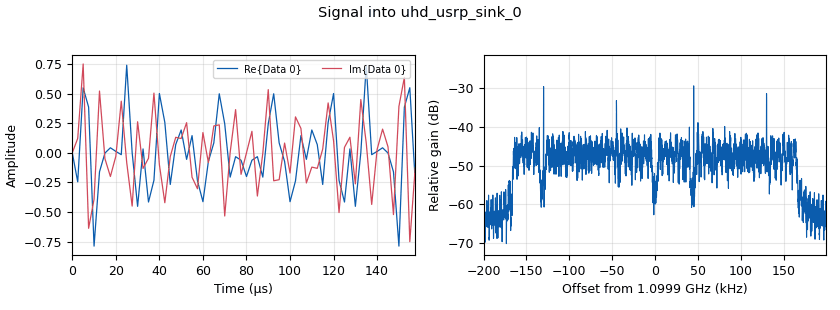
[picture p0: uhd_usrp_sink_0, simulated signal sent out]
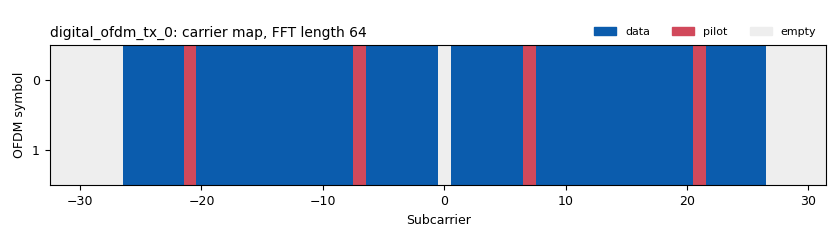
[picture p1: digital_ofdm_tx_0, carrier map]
<?xml version='1.0' encoding='utf-8'?>
<?grc format='1' created='3.7.11'?>
<flow_graph>
<block>
<key>options</key>
<param><key>id</key><value>usrp_1tx_1rx_pdu_gen</value></param>
<param><key>generate_options</key><value>qt_gui</value></param>
</block>
<block>
<key>variable_qtgui_range</key>
<param><key>id</key><value>mul1</value></param>
<param><key>value</key><value>0.1</value></param>
<param><key>label</key><value>mul1</value></param>
<param><key>orient</key><value>Qt.Horizontal</value></param>
<param><key>start</key><value>0</value></param>
<param><key>step</key><value>0.01</value></param>
<param><key>stop</key><value>1</value></param>
</block>
<block>
<key>variable</key>
<param><key>id</key><value>occupied_carriers</value></param>
<param><key>value</key><value>(range(-26, -21) + range(-20, -7) + range(-6, 0) + range(1, 7) + range(8, 21) + range(22, 27),)</value></param>
</block>
<block>
<key>variable</key>
<param><key>id</key><value>pilot_carriers</value></param>
<param><key>value</key><value>((-21, -7, 7, 21,),)</value></param>
</block>
<block>
<key>variable</key>
<param><key>id</key><value>pilot_symbols</value></param>
<param><key>value</key><value>((1, 1, 1, -1,),)</value></param>
</block>
<block>
<key>variable</key>
<param><key>id</key><value>sync_word1</value></param>
<param><key>value</key><value>[0., 0., 0., 0., 0., 0., 0., 1.41421356, 0., -1.41421356, 0., 1.41421356, 0., -1.41421356, 0., -1.41421356, 0., -1.41421356, 0., 1.41421356, 0., -1.41421356, 0., 1.41421356, 0., -1.41421356, 0., -1.41421356, 0., -1.41421356, 0., -1.41421356, 0., 1.41421356, 0., -1.41421356, 0., 1.41421356, 0., 1.41421356, 0., 1.41421356, 0., -1.41421356, 0., 1.41421356, 0., 1.41421356, 0., 1.41421356, 0., -1.41421356, 0., 1.41421356, 0., 1.41421356, 0., 1.41421356, 0., 0., 0., 0., 0., 0.]</value></param>
</block>
<block>
<key>variable</key>
<param><key>id</key><value>sync_word2</value></param>
<param><key>value</key><value>[0, 0, 0, 0, 0, 0, -1, -1, -1, -1, 1, 1, -1, -1, -1, 1, -1, 1, 1, 1, 1, 1, -1, -1, -1, -1, -1, 1, -1, -1, 1, -1, 0, 1, -1, 1, 1, 1, -1, 1, 1, 1, -1, 1, 1, 1, 1, -1, 1, -1, -1, -1, 1, -1, 1, -1, -1, -1, -1, 0, 0, 0, 0, 0] </value></param>
</block>
<block>
<key>analog_random_source_x</key>
<param><key>id</key><value>analog_random_source_x_0</value></param>
<param><key>_enabled</key><value>0</value></param>
<param><key>max</key><value>10</value></param>
<param><key>min</key><value>0</value></param>
<param><key>num_samps</key><value>1000</value></param>
<param><key>type</key><value>byte</value></param>
<param><key>repeat</key><value>True</value></param>
</block>
<block>
<key>blocks_message_debug</key>
<param><key>id</key><value>blocks_message_debug_0</value></param>
<param><key>_enabled</key><value>0</value></param>
</block>
<block>
<key>blocks_message_strobe</key>
<param><key>id</key><value>blocks_message_strobe_0</value></param>
<param><key>msg</key><value>pmt.intern("TEST")</value></param>
<param><key>period</key><value>100</value></param>
</block>
<block>
<key>blocks_multiply_const_vxx</key>
<param><key>id</key><value>blocks_multiply_const_vxx_0</value></param>
<param><key>const</key><value>mul1</value></param>
<param><key>type</key><value>complex</value></param>
</block>
<block>
<key>blocks_pdu_to_tagged_stream</key>
<param><key>id</key><value>blocks_pdu_to_tagged_stream_0</value></param>
<param><key>type</key><value>byte</value></param>
<param><key>tag</key><value>"len"</value></param>
</block>
<block>
<key>blocks_random_pdu</key>
<param><key>id</key><value>blocks_random_pdu_0</value></param>
<param><key>mask</key><value>0xFF</value></param>
<param><key>length_modulo</key><value>2</value></param>
<param><key>maxsize</key><value>100</value></param>
<param><key>minsize</key><value>50</value></param>
</block>
<block>
<key>blocks_stream_to_tagged_stream</key>
<param><key>id</key><value>blocks_stream_to_tagged_stream_0</value></param>
<param><key>_enabled</key><value>0</value></param>
<param><key>len_tag_key</key><value>"len"</value></param>
<param><key>packet_len</key><value>100</value></param>
<param><key>type</key><value>byte</value></param>
</block>
<block>
<key>blocks_tag_debug</key>
<param><key>id</key><value>blocks_tag_debug_0</value></param>
<param><key>type</key><value>byte</value></param>
<param><key>name</key><value>VR1 RX</value></param>
</block>
<block>
<key>blocks_tagged_stream_to_pdu</key>
<param><key>id</key><value>blocks_tagged_stream_to_pdu_0</value></param>
<param><key>_enabled</key><value>0</value></param>
<param><key>type</key><value>byte</value></param>
<param><key>tag</key><value>packet_len</value></param>
</block>
<block>
<key>blocks_throttle</key>
<param><key>id</key><value>blocks_throttle_0</value></param>
<param><key>samples_per_second</key><value>samp_rate * 2</value></param>
<param><key>type</key><value>complex</value></param>
</block>
<block>
<key>digital_ofdm_rx</key>
<param><key>id</key><value>digital_ofdm_rx_0</value></param>
<param><key>cp_len</key><value>16</value></param>
<param><key>fft_len</key><value>64</value></param>
<param><key>header_mod</key><value>"BPSK"</value></param>
<param><key>occupied_carriers</key><value>occupied_carriers</value></param>
<param><key>packet_len_key</key><value>"len"</value></param>
<param><key>payload_mod</key><value>"BPSK"</value></param>
<param><key>pilot_carriers</key><value>pilot_carriers</value></param>
<param><key>pilot_symbols</key><value>pilot_symbols</value></param>
<param><key>sync_word1</key><value>sync_word1</value></param>
<param><key>sync_word2</key><value>sync_word2</value></param>
</block>
<block>
<key>digital_ofdm_tx</key>
<param><key>id</key><value>digital_ofdm_tx_0</value></param>
<param><key>cp_len</key><value>16</value></param>
<param><key>fft_len</key><value>64</value></param>
<param><key>header_mod</key><value>"BPSK"</value></param>
<param><key>packet_len_key</key><value>"len"</value></param>
<param><key>occupied_carriers</key><value>occupied_carriers</value></param>
<param><key>payload_mod</key><value>"BPSK"</value></param>
<param><key>pilot_carriers</key><value>pilot_carriers</value></param>
<param><key>pilot_symbols</key><value>pilot_symbols</value></param>
<param><key>rolloff</key><value>0</value></param>
<param><key>sync_word1</key><value>sync_word1</value></param>
<param><key>sync_word2</key><value>sync_word2</value></param>
</block>
<block>
<key>parameter</key>
<param><key>id</key><value>freqrx</value></param>
<param><key>value</key><value>1.1e9</value></param>
</block>
<block>
<key>parameter</key>
<param><key>id</key><value>freqtx</value></param>
<param><key>value</key><value>1.1e9</value></param>
</block>
<block>
<key>parameter</key>
<param><key>id</key><value>hydraClient</value></param>
<param><key>type</key><value>string</value></param>
<param><key>value</key><value>192.168.5.52</value></param>
</block>
<block>
<key>qtgui_waterfall_sink_x</key>
<param><key>id</key><value>qtgui_waterfall_sink_x_0</value></param>
<param><key>bw</key><value>samp_rate</value></param>
<param><key>fc</key><value>0</value></param>
<param><key>fftsize</key><value>1024</value></param>
<param><key>showports</key><value>True</value></param>
<param><key>type</key><value>complex</value></param>
<param><key>wintype</key><value>firdes.WIN_BLACKMAN_hARRIS</value></param>
</block>
<block>
<key>parameter</key>
<param><key>id</key><value>samp_rate</value></param>
<param><key>value</key><value>200e3</value></param>
</block>
<block>
<key>uhd_usrp_sink</key>
<param><key>id</key><value>uhd_usrp_sink_0</value></param>
<param><key>ant0</key><value>TX/RX</value></param>
<param><key>center_freq0</key><value>freqtx + vr1offset</value></param>
<param><key>norm_gain0</key><value>True</value></param>
<param><key>gain0</key><value>0.7</value></param>
<param><key>clock_rate</key><value>0.0</value></param>
<param><key>dev_args</key><value>""</value></param>
<param><key>type</key><value>fc32</value></param>
<param><key>samp_rate</key><value>samp_rate * 2</value></param>
<param><key>hide_cmd_port</key><value>False</value></param>
<param><key>hide_lo_controls</key><value>True</value></param>
<param><key>sync</key><value></value></param>
<param><key>len_tag_name</key><value></value></param>
</block>
<block>
<key>uhd_usrp_source</key>
<param><key>id</key><value>uhd_usrp_source_0</value></param>
<param><key>ant0</key><value>RX2</value></param>
<param><key>center_freq0</key><value>freqrx + vr1offset</value></param>
<param><key>dc_offs_enb0</key><value>""</value></param>
<param><key>iq_imbal_enb0</key><value>""</value></param>
<param><key>norm_gain0</key><value>False</value></param>
<param><key>gain0</key><value>0</value></param>
<param><key>clock_rate</key><value>0.0</value></param>
<param><key>dev_args</key><value>""</value></param>
<param><key>type</key><value>fc32</value></param>
<param><key>samp_rate</key><value>samp_rate * 2</value></param>
<param><key>hide_cmd_port</key><value>False</value></param>
<param><key>hide_lo_controls</key><value>True</value></param>
<param><key>sync</key><value></value></param>
</block>
<block>
<key>parameter</key>
<param><key>id</key><value>vr1offset</value></param>
<param><key>value</key><value>-100e3</value></param>
</block>
<block>
<key>parameter</key>
<param><key>id</key><value>vr2offset</value></param>
<param><key>value</key><value>700e3</value></param>
</block>
<connection><source_block_id>analog_random_source_x_0</source_block_id><sink_block_id>blocks_stream_to_tagged_stream_0</sink_block_id><source_key>0</source_key><sink_key>0</sink_key></connection>
<connection><source_block_id>blocks_message_strobe_0</source_block_id><sink_block_id>blocks_random_pdu_0</sink_block_id><source_key>strobe</source_key><sink_key>generate</sink_key></connection>
<connection><source_block_id>blocks_multiply_const_vxx_0</source_block_id><sink_block_id>uhd_usrp_sink_0</sink_block_id><source_key>0</source_key><sink_key>0</sink_key></connection>
<connection><source_block_id>blocks_pdu_to_tagged_stream_0</source_block_id><sink_block_id>digital_ofdm_tx_0</sink_block_id><source_key>0</source_key><sink_key>0</sink_key></connection>
<connection><source_block_id>blocks_random_pdu_0</source_block_id><sink_block_id>blocks_pdu_to_tagged_stream_0</sink_block_id><source_key>pdus</source_key><sink_key>pdus</sink_key></connection>
<connection><source_block_id>blocks_stream_to_tagged_stream_0</source_block_id><sink_block_id>digital_ofdm_tx_0</sink_block_id><source_key>0</source_key><sink_key>0</sink_key></connection>
<connection><source_block_id>blocks_throttle_0</source_block_id><sink_block_id>blocks_multiply_const_vxx_0</sink_block_id><source_key>0</source_key><sink_key>0</sink_key></connection>
<connection><source_block_id>digital_ofdm_rx_0</source_block_id><sink_block_id>blocks_tag_debug_0</sink_block_id><source_key>0</source_key><sink_key>0</sink_key></connection>
<connection><source_block_id>digital_ofdm_tx_0</source_block_id><sink_block_id>blocks_throttle_0</sink_block_id><source_key>0</source_key><sink_key>0</sink_key></connection>
<connection><source_block_id>uhd_usrp_source_0</source_block_id><sink_block_id>digital_ofdm_rx_0</sink_block_id><source_key>0</source_key><sink_key>0</sink_key></connection>
<connection><source_block_id>uhd_usrp_source_0</source_block_id><sink_block_id>qtgui_waterfall_sink_x_0</sink_block_id><source_key>0</source_key><sink_key>0</sink_key></connection>
</flow_graph>
